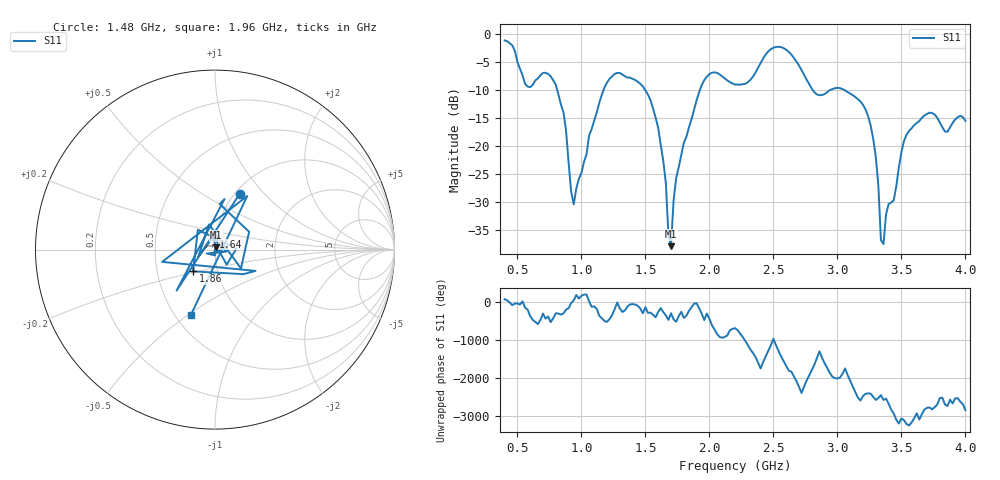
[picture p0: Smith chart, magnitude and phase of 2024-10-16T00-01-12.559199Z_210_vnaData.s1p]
! Created with skrf (http://scikit-rf.org).
# Hz S RI R 50.0
!freq ReS11 ImS11
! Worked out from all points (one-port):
!   181 points, 400 MHz to 4 GHz, reference 50 ohm
!   lowest |S11| = -38.0 dB at 1.7 GHz (marker M1), VSWR 1.03, Z = 50.5 + j1.19 ohm
!   |S11| at or under -10 dB: 810.4 MHz to 1.174 GHz (363.1 MHz wide, 36.6 % of centre); 1.497 GHz to 1.926 GHz (429.1 MHz wide, 25.1 % of centre); 3.052 GHz to end of sweep (the widest 3 of 4)
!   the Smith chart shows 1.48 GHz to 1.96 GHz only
!   S11 on the Smith chart (normalised r, x): 1.48 GHz: 1.05, +0.74; 1.64 GHz: 0.97, +0.14; 1.86 GHz: 0.76, -0.19; 1.96 GHz: 0.60, -0.51
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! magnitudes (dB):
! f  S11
! 400 MHz  -1.2
! 580 MHz  -9.4
! 760 MHz  -7.6
! 860 MHz  -14.0
! 940 MHz  -30.5
! 1.16 GHz  -10.8
! 1.3 GHz  -7.0
! 1.48 GHz  -9.4
! 1.58 GHz  -15.0
! 1.64 GHz  -22.7
! 1.68 GHz  -36.1
! 1.7 GHz  -38.0
! 1.72 GHz  -29.8
! 1.76 GHz  -23.9
! 1.86 GHz  -15.3
! 1.96 GHz  -8.3
! 2.2 GHz  -9.0
! 2.5 GHz  -2.5
! 2.66 GHz  -4.3
! 2.84 GHz  -10.8
! 3.1 GHz  -10.7
! 3.26 GHz  -16.4
! 3.3 GHz  -22.0
! 3.34 GHz  -36.9
! 3.36 GHz  -37.6
! 3.38 GHz  -32.3
! 3.56 GHz  -17.3
! 4 GHz  -15.5
